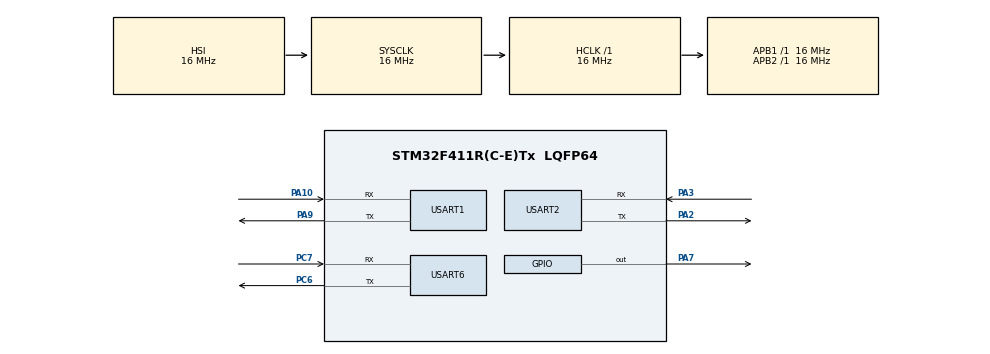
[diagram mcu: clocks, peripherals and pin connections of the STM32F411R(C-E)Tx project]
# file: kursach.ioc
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Mcu.Family=STM32F4
Mcu.Name=STM32F411R(C-E)Tx
Mcu.Package=LQFP64
NVIC.PriorityGroup=NVIC_PRIORITYGROUP_4
NVIC.USART1_IRQn=true\:0\:0\:false\:false\:true\:true\:true\:true
NVIC.USART6_IRQn=true\:0\:0\:false\:false\:true\:true\:true\:true
PA10.Mode=Asynchronous
PA10.Signal=USART1_RX
PA13.Mode=Serial_Wire
PA13.Signal=SYS_JTMS-SWDIO
PA14.Mode=Serial_Wire
PA14.Signal=SYS_JTCK-SWCLK
PA2.Mode=Asynchronous
PA2.Signal=USART2_TX
PA3.Mode=Asynchronous
PA3.Signal=USART2_RX
PA7.GPIO_ModeDefaultOutputPP=GPIO_MODE_OUTPUT_PP
PA7.GPIO_PuPd=GPIO_NOPULL
PA7.Signal=GPIO_Output
PA9.Mode=Asynchronous
PA9.Signal=USART1_TX
PC6.Mode=Asynchronous
PC6.Signal=USART6_TX
PC7.Mode=Asynchronous
PC7.Signal=USART6_RX
ProjectManager.HeapSize=0x200
ProjectManager.StackSize=0x400
ProjectManager.TargetToolchain=STM32CubeIDE
RCC.AHBFreq_Value=16000000
RCC.APB1Freq_Value=16000000
RCC.APB2Freq_Value=16000000
RCC.CortexFreq_Value=16000000
RCC.HSE_VALUE=25000000
RCC.HSI_VALUE=16000000
RCC.LSE_VALUE=32768
RCC.SYSCLKFreq_VALUE=16000000
RCC.VCOOutputFreq_Value=192000000
USART1.VirtualMode=VM_ASYNC
USART2.VirtualMode=VM_ASYNC
USART6.VirtualMode=VM_ASYNC
board=custom

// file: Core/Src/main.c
/* USER CODE BEGIN Header */
/**
 ******************************************************************************
 * @file           : main.c
 * @brief          : Main program body
 ******************************************************************************
 * @attention
 *
 * Copyright (c) 2023 STMicroelectronics.
 * All rights reserved.
 *
 * This software is licensed under terms that can be found in the LICENSE file
 * in the root directory of this software component.
 * If no LICENSE file comes with this software, it is provided AS-IS.
 *
 ******************************************************************************
 */
/* USER CODE END Header */
#include "main.h"

/* USER CODE BEGIN Includes */
#include <stdio.h>
#include <string.h>
/* USER CODE END Includes */

/* USER CODE BEGIN PD */

#define MAX_STR_SIZE 7 + 3 /* + 3 байта для /r/n/0 */
#define RECEIVE_TIMEOUT 200

/* USER CODE END PD */

UART_HandleTypeDef huart1;
UART_HandleTypeDef huart2;
UART_HandleTypeDef huart6;

/* USER CODE BEGIN PV */

char bt_buffer[MAX_STR_SIZE];
uint8_t recieved_byte;
uint16_t recieved_bytes_counter = 0;
char max_length_error[58];
uint8_t string_overflow = 0;
uint8_t met_the_end_of_string = 0;
uint32_t last_receive_timestamp = 0;

/* USER CODE END PV */

void SystemClock_Config(void);
static void MX_GPIO_Init(void);
static void MX_USART1_UART_Init(void);
static void MX_USART2_UART_Init(void);
static void MX_USART6_UART_Init(void);

int main(void) {

	/* MCU Configuration--------------------------------------------------------*/

	/* Reset of all peripherals, Initializes the Flash interface and the Systick. */
	HAL_Init();

	/* Configure the system clock */
	SystemClock_Config();

	/* Initialize all configured peripherals */
	MX_GPIO_Init();
	MX_USART1_UART_Init();
	MX_USART2_UART_Init();
	MX_USART6_UART_Init();

	/* Infinite loop */
	/* USER CODE BEGIN WHILE */
	sprintf(max_length_error, "String's too long. Try one less then %d symbols long.\r\n", MAX_STR_SIZE - 3);
	HAL_UART_Receive_IT(&huart6, &recieved_byte, 1);
	while (1) {
		 /*
		 * В конце каждой строки должен быть записан нуль-терминатор \0.
		 * Если последний полученный байт должен стоять на предпоследней позиции строки
		 * и не является символом конца строки ( \n ), то записать в конец строки \0
		 * уже не получится - строка слишком длинная (в этом случае флаг string_overflow поднят).
		 * Передача данных прервана, выводим соответствующее сообщение, обнуляем счетчик,
		 * опускаем флаг и начинаем прием следующей строки.
		 */
		if (string_overflow) {
			if (HAL_GetTick() - last_receive_timestamp > RECEIVE_TIMEOUT) {
				HAL_UART_Transmit(&huart1, (uint8_t*) max_length_error, strlen(max_length_error), HAL_MAX_DELAY);
				recieved_bytes_counter = 0;
				string_overflow = 0;
				last_receive_timestamp = HAL_GetTick();

				HAL_UART_Receive(&huart6, &recieved_byte, 1, HAL_MAX_DELAY);
				HAL_UART_Receive_IT(&huart6, &recieved_byte, 1);
			}
		}

		/*
		 * Если предыдущее условие не выполнилсь, то проверяем, равен ли ASCII-код полученного
		 * символа ASCII-коду символа перевода строки - \n. Если явлется, то записываем после него
		 * нуль-терминатор, отправляем сформированную строку в UART, обнуляем счетчик, опускаем флаг
		 * и готовы принимать следующую строку.
		 */
		if (met_the_end_of_string) {
			bt_buffer[recieved_bytes_counter] = '\0';
			HAL_UART_Transmit_IT(&huart1, (uint8_t*) bt_buffer, strlen(bt_buffer));

			recieved_bytes_counter = 0;
			met_the_end_of_string = 0;

			HAL_UART_Receive_IT(&huart6, &recieved_byte, 1);
		}
		/* USER CODE END WHILE */

	}
}

void SystemClock_Config(void) {
	RCC_OscInitTypeDef RCC_OscInitStruct = { 0 };
	RCC_ClkInitTypeDef RCC_ClkInitStruct = { 0 };

	/** Configure the main internal regulator output voltage
	 */
	__HAL_RCC_PWR_CLK_ENABLE();
	__HAL_PWR_VOLTAGESCALING_CONFIG(PWR_REGULATOR_VOLTAGE_SCALE1);

	/** Initializes the RCC Oscillators according to the specified parameters
	 * in the RCC_OscInitTypeDef structure.
	 */
	RCC_OscInitStruct.OscillatorType = RCC_OSCILLATORTYPE_HSI;
	RCC_OscInitStruct.HSIState = RCC_HSI_ON;
	RCC_OscInitStruct.HSICalibrationValue = RCC_HSICALIBRATION_DEFAULT;
	RCC_OscInitStruct.PLL.PLLState = RCC_PLL_NONE;
	if (HAL_RCC_OscConfig(&RCC_OscInitStruct) != HAL_OK) {
		Error_Handler();
	}

	/** Initializes the CPU, AHB and APB buses clocks
	 */
	RCC_ClkInitStruct.ClockType = RCC_CLOCKTYPE_HCLK | RCC_CLOCKTYPE_SYSCLK | RCC_CLOCKTYPE_PCLK1 | RCC_CLOCKTYPE_PCLK2;
	RCC_ClkInitStruct.SYSCLKSource = RCC_SYSCLKSOURCE_HSI;
	RCC_ClkInitStruct.AHBCLKDivider = RCC_SYSCLK_DIV1;
	RCC_ClkInitStruct.APB1CLKDivider = RCC_HCLK_DIV1;
	RCC_ClkInitStruct.APB2CLKDivider = RCC_HCLK_DIV1;

	if (HAL_RCC_ClockConfig(&RCC_ClkInitStruct, FLASH_LATENCY_0) != HAL_OK) {
		Error_Handler();
	}
}

static void MX_USART1_UART_Init(void) {

	huart1.Instance = USART1;
	huart1.Init.BaudRate = 115200;
	huart1.Init.WordLength = UART_WORDLENGTH_8B;
	huart1.Init.StopBits = UART_STOPBITS_1;
	huart1.Init.Parity = UART_PARITY_NONE;
	huart1.Init.Mode = UART_MODE_TX_RX;
	huart1.Init.HwFlowCtl = UART_HWCONTROL_NONE;
	huart1.Init.OverSampling = UART_OVERSAMPLING_16;
	if (HAL_UART_Init(&huart1) != HAL_OK) {
		Error_Handler();
	}

}

static void MX_USART2_UART_Init(void) {

	huart2.Instance = USART2;
	huart2.Init.BaudRate = 115200;
	huart2.Init.WordLength = UART_WORDLENGTH_8B;
	huart2.Init.StopBits = UART_STOPBITS_1;
	huart2.Init.Parity = UART_PARITY_NONE;
	huart2.Init.Mode = UART_MODE_TX_RX;
	huart2.Init.HwFlowCtl = UART_HWCONTROL_NONE;
	huart2.Init.OverSampling = UART_OVERSAMPLING_16;
	if (HAL_UART_Init(&huart2) != HAL_OK) {
		Error_Handler();
	}

}

static void MX_USART6_UART_Init(void) {

	huart6.Instance = USART6;
	huart6.Init.BaudRate = 115200;
	huart6.Init.WordLength = UART_WORDLENGTH_8B;
	huart6.Init.StopBits = UART_STOPBITS_1;
	huart6.Init.Parity = UART_PARITY_NONE;
	huart6.Init.Mode = UART_MODE_TX_RX;
	huart6.Init.HwFlowCtl = UART_HWCONTROL_NONE;
	huart6.Init.OverSampling = UART_OVERSAMPLING_16;
	if (HAL_UART_Init(&huart6) != HAL_OK) {
		Error_Handler();
	}

}

static void MX_GPIO_Init(void) {
	GPIO_InitTypeDef GPIO_InitStruct = { 0 };

	/* GPIO Ports Clock Enable */
	__HAL_RCC_GPIOA_CLK_ENABLE();
	__HAL_RCC_GPIOC_CLK_ENABLE();

	/*Configure GPIO pin Output Level */
	HAL_GPIO_WritePin(GPIOA, GPIO_PIN_7, GPIO_PIN_RESET);

	/*Configure GPIO pin : PA7 */
	GPIO_InitStruct.Pin = GPIO_PIN_7;
	GPIO_InitStruct.Mode = GPIO_MODE_OUTPUT_PP;
	GPIO_InitStruct.Pull = GPIO_NOPULL;
	GPIO_InitStruct.Speed = GPIO_SPEED_FREQ_LOW;
	HAL_GPIO_Init(GPIOA, &GPIO_InitStruct);

}

/* USER CODE BEGIN 4 */

void HAL_UART_RxCpltCallback(UART_HandleTypeDef *huart) {
	if (huart == &huart6) {
		bt_buffer[recieved_bytes_counter++] = recieved_byte;

		if (recieved_bytes_counter == MAX_STR_SIZE - 2 && recieved_byte != 10) {
			string_overflow = 1;
		}
		else if (recieved_byte == 10) {
			met_the_end_of_string = 1;
		}
		else {
			HAL_UART_Receive_IT(&huart6, &recieved_byte, 1);
		}
	}
}

/* USER CODE END 4 */

void Error_Handler(void) {
	__disable_irq();
	while (1) {
	}
}
